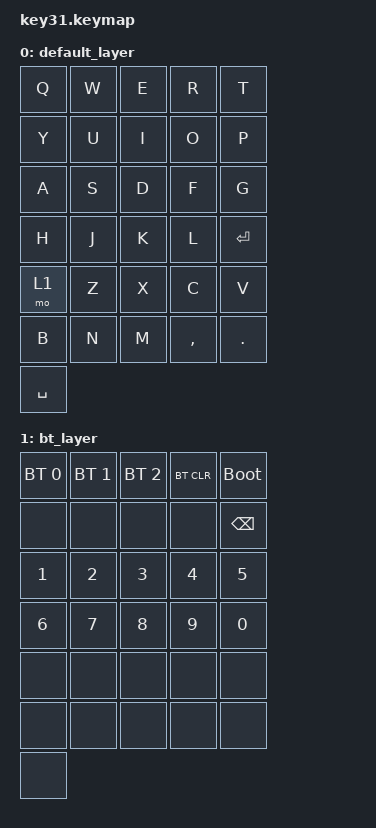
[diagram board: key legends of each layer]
#include <behaviors.dtsi>
#include <dt-bindings/zmk/keys.h>
#include <dt-bindings/zmk/bt.h>

/ {
    keymap {
        compatible = "zmk,keymap";

        default_layer {
            bindings = <
                &kp Q       &kp W        &kp E        &kp R        &kp T
                &kp Y       &kp U        &kp I        &kp O        &kp P

                &kp A       &kp S        &kp D        &kp F        &kp G
                &kp H       &kp J        &kp K        &kp L        &kp ENTER

                &mo 1       &kp Z        &kp X        &kp C        &kp V
                &kp B       &kp N        &kp M        &kp COMMA    &kp DOT

                &kp SPACE
            >;
        };

        bt_layer {
            bindings = <
                &bt BT_SEL 0    &bt BT_SEL 1    &bt BT_SEL 2    &bt BT_CLR    &bootloader
                &none       &none        &none        &none        &kp BACKSPACE

                &kp N1      &kp N2       &kp N3       &kp N4       &kp N5
                &kp N6      &kp N7       &kp N8       &kp N9       &kp N0

                &none       &none        &none        &none        &none
                &none       &none        &none        &none        &none       

                &none
            >;
        };
    };
};
